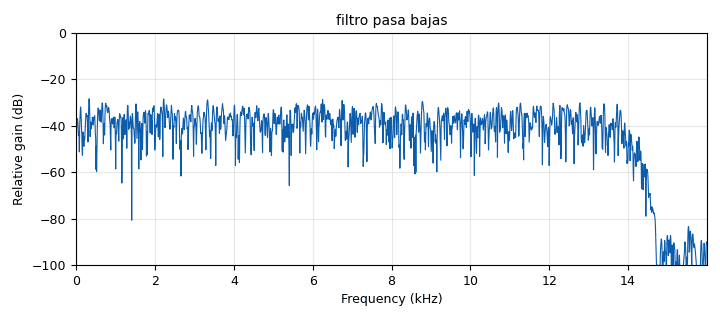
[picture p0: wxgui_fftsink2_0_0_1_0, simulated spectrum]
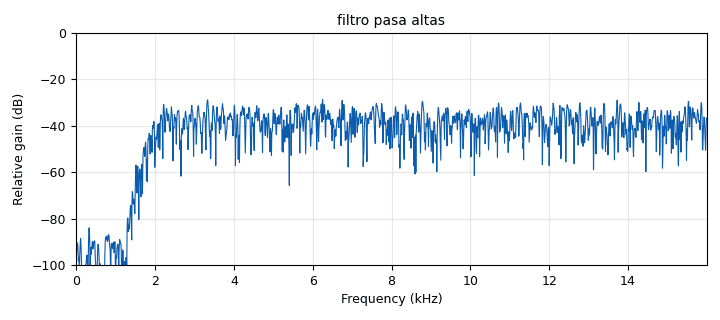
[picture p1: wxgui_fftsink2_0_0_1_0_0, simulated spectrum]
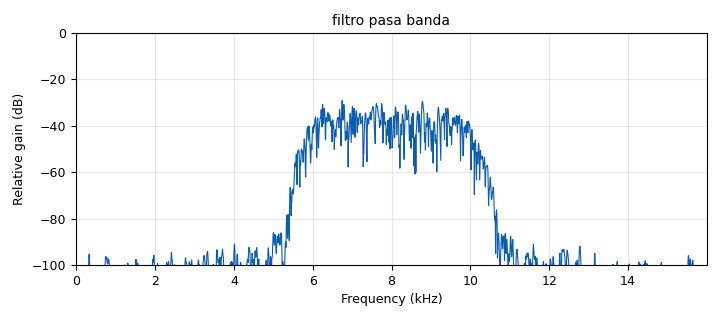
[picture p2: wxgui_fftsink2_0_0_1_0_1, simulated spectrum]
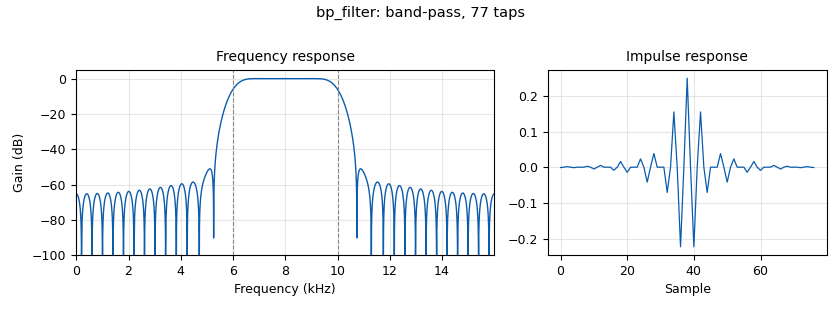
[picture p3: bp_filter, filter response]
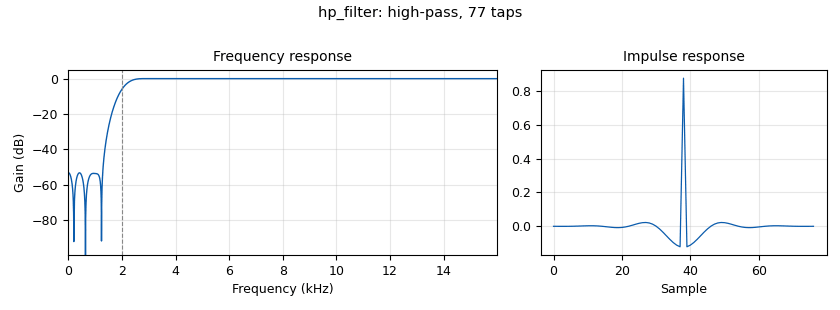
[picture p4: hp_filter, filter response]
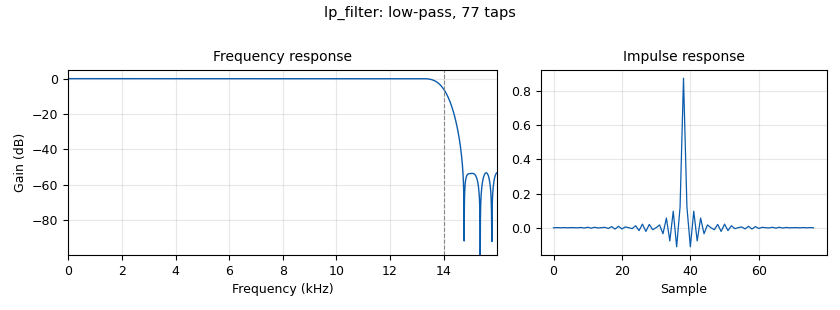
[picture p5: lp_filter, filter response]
<?xml version='1.0' encoding='utf-8'?>
<?grc format='1' created='3.7.11'?>
<flow_graph>
<block>
<key>options</key>
<param><key>id</key><value>filter_taps</value></param>
<param><key>category</key><value>Custom</value></param>
<param><key>generate_options</key><value>wx_gui</value></param>
</block>
<block>
<key>variable</key>
<param><key>id</key><value>bp_high</value></param>
<param><key>value</key><value>10000</value></param>
</block>
<block>
<key>variable</key>
<param><key>id</key><value>bp_low</value></param>
<param><key>value</key><value>6000</value></param>
</block>
<block>
<key>variable_band_pass_filter_taps</key>
<param><key>id</key><value>bp_taps</value></param>
<param><key>gain</key><value>1.0</value></param>
<param><key>high_cutoff_freq</key><value>bp_high</value></param>
<param><key>low_cutoff_freq</key><value>bp_low</value></param>
<param><key>samp_rate</key><value>samp_rate</value></param>
<param><key>type</key><value>taps_real</value></param>
<param><key>width</key><value>transition</value></param>
<param><key>win</key><value>firdes.WIN_HAMMING</value></param>
</block>
<block>
<key>variable</key>
<param><key>id</key><value>cutoff_high</value></param>
<param><key>value</key><value>14000</value></param>
</block>
<block>
<key>variable</key>
<param><key>id</key><value>cutoff_low</value></param>
<param><key>value</key><value>2000</value></param>
</block>
<block>
<key>variable_high_pass_filter_taps</key>
<param><key>id</key><value>hp_taps</value></param>
<param><key>cutoff_freq</key><value>cutoff_low</value></param>
<param><key>gain</key><value>1.0</value></param>
<param><key>samp_rate</key><value>samp_rate</value></param>
<param><key>width</key><value>transition</value></param>
<param><key>win</key><value>firdes.WIN_HAMMING</value></param>
</block>
<block>
<key>variable_low_pass_filter_taps</key>
<param><key>id</key><value>lp_taps</value></param>
<param><key>cutoff_freq</key><value>cutoff_high</value></param>
<param><key>gain</key><value>1.0</value></param>
<param><key>samp_rate</key><value>samp_rate</value></param>
<param><key>width</key><value>transition</value></param>
<param><key>win</key><value>firdes.WIN_HAMMING</value></param>
</block>
<block>
<key>variable</key>
<param><key>id</key><value>samp_rate</value></param>
<param><key>value</key><value>32000</value></param>
</block>
<block>
<key>variable</key>
<param><key>id</key><value>transition</value></param>
<param><key>value</key><value>1000</value></param>
</block>
<block>
<key>analog_fastnoise_source_x</key>
<param><key>id</key><value>analog_fastnoise_source_x_0</value></param>
<param><key>amp</key><value>1</value></param>
<param><key>noise_type</key><value>analog.GR_GAUSSIAN</value></param>
<param><key>type</key><value>float</value></param>
<param><key>seed</key><value>0</value></param>
<param><key>samples</key><value>8192</value></param>
</block>
<block>
<key>blocks_throttle</key>
<param><key>id</key><value>blocks_throttle_0_1</value></param>
<param><key>samples_per_second</key><value>samp_rate</value></param>
<param><key>type</key><value>float</value></param>
</block>
<block>
<key>blocks_throttle</key>
<param><key>id</key><value>blocks_throttle_0_1_0</value></param>
<param><key>samples_per_second</key><value>samp_rate</value></param>
<param><key>type</key><value>float</value></param>
</block>
<block>
<key>blocks_throttle</key>
<param><key>id</key><value>blocks_throttle_0_1_0_0</value></param>
<param><key>samples_per_second</key><value>samp_rate</value></param>
<param><key>type</key><value>float</value></param>
</block>
<block>
<key>fir_filter_xxx</key>
<param><key>id</key><value>bp_filter</value></param>
<param><key>comment</key><value>Band-pass filter</value></param>
<param><key>decim</key><value>1</value></param>
<param><key>taps</key><value>bp_taps</value></param>
<param><key>type</key><value>fff</value></param>
</block>
<block>
<key>fir_filter_xxx</key>
<param><key>id</key><value>hp_filter</value></param>
<param><key>comment</key><value>High-pass filter</value></param>
<param><key>decim</key><value>1</value></param>
<param><key>taps</key><value>hp_taps</value></param>
<param><key>type</key><value>fff</value></param>
</block>
<block>
<key>fir_filter_xxx</key>
<param><key>id</key><value>lp_filter</value></param>
<param><key>comment</key><value>Low-pass filter</value></param>
<param><key>decim</key><value>1</value></param>
<param><key>taps</key><value>lp_taps</value></param>
<param><key>type</key><value>fff</value></param>
</block>
<block>
<key>notebook</key>
<param><key>id</key><value>notebook</value></param>
<param><key>labels</key><value>['lp','hp','bp']</value></param>
<param><key>style</key><value>wx.NB_TOP</value></param>
</block>
<block>
<key>wxgui_fftsink2</key>
<param><key>id</key><value>wxgui_fftsink2_0_0_1_0</value></param>
<param><key>avg_alpha</key><value>0</value></param>
<param><key>average</key><value>False</value></param>
<param><key>baseband_freq</key><value>0</value></param>
<param><key>fft_size</key><value>4096</value></param>
<param><key>freqvar</key><value>None</value></param>
<param><key>notebook</key><value>notebook,0</value></param>
<param><key>peak_hold</key><value>False</value></param>
<param><key>ref_level</key><value>0</value></param>
<param><key>ref_scale</key><value>2.0</value></param>
<param><key>fft_rate</key><value>15</value></param>
<param><key>samp_rate</key><value>samp_rate</value></param>
<param><key>title</key><value>filtro pasa bajas</value></param>
<param><key>type</key><value>float</value></param>
<param><key>win</key><value>window.flattop</value></param>
<param><key>y_divs</key><value>10</value></param>
<param><key>y_per_div</key><value>10</value></param>
</block>
<block>
<key>wxgui_fftsink2</key>
<param><key>id</key><value>wxgui_fftsink2_0_0_1_0_0</value></param>
<param><key>avg_alpha</key><value>0</value></param>
<param><key>average</key><value>False</value></param>
<param><key>baseband_freq</key><value>0</value></param>
<param><key>fft_size</key><value>4096</value></param>
<param><key>freqvar</key><value>None</value></param>
<param><key>notebook</key><value>notebook,1</value></param>
<param><key>peak_hold</key><value>False</value></param>
<param><key>ref_level</key><value>0</value></param>
<param><key>ref_scale</key><value>2.0</value></param>
<param><key>fft_rate</key><value>15</value></param>
<param><key>samp_rate</key><value>samp_rate</value></param>
<param><key>title</key><value>filtro pasa altas</value></param>
<param><key>type</key><value>float</value></param>
<param><key>win</key><value>window.flattop</value></param>
<param><key>y_divs</key><value>10</value></param>
<param><key>y_per_div</key><value>10</value></param>
</block>
<block>
<key>wxgui_fftsink2</key>
<param><key>id</key><value>wxgui_fftsink2_0_0_1_0_1</value></param>
<param><key>avg_alpha</key><value>0</value></param>
<param><key>average</key><value>False</value></param>
<param><key>baseband_freq</key><value>0</value></param>
<param><key>fft_size</key><value>4096</value></param>
<param><key>freqvar</key><value>None</value></param>
<param><key>notebook</key><value>notebook,2</value></param>
<param><key>peak_hold</key><value>False</value></param>
<param><key>ref_level</key><value>0</value></param>
<param><key>ref_scale</key><value>2.0</value></param>
<param><key>fft_rate</key><value>15</value></param>
<param><key>samp_rate</key><value>samp_rate</value></param>
<param><key>title</key><value>filtro pasa banda</value></param>
<param><key>type</key><value>float</value></param>
<param><key>win</key><value>window.flattop</value></param>
<param><key>y_divs</key><value>10</value></param>
<param><key>y_per_div</key><value>10</value></param>
</block>
<connection><source_block_id>analog_fastnoise_source_x_0</source_block_id><sink_block_id>bp_filter</sink_block_id><source_key>0</source_key><sink_key>0</sink_key></connection>
<connection><source_block_id>analog_fastnoise_source_x_0</source_block_id><sink_block_id>hp_filter</sink_block_id><source_key>0</source_key><sink_key>0</sink_key></connection>
<connection><source_block_id>analog_fastnoise_source_x_0</source_block_id><sink_block_id>lp_filter</sink_block_id><source_key>0</source_key><sink_key>0</sink_key></connection>
<connection><source_block_id>blocks_throttle_0_1</source_block_id><sink_block_id>wxgui_fftsink2_0_0_1_0</sink_block_id><source_key>0</source_key><sink_key>0</sink_key></connection>
<connection><source_block_id>blocks_throttle_0_1_0</source_block_id><sink_block_id>wxgui_fftsink2_0_0_1_0_0</sink_block_id><source_key>0</source_key><sink_key>0</sink_key></connection>
<connection><source_block_id>blocks_throttle_0_1_0_0</source_block_id><sink_block_id>wxgui_fftsink2_0_0_1_0_1</sink_block_id><source_key>0</source_key><sink_key>0</sink_key></connection>
<connection><source_block_id>bp_filter</source_block_id><sink_block_id>blocks_throttle_0_1_0_0</sink_block_id><source_key>0</source_key><sink_key>0</sink_key></connection>
<connection><source_block_id>hp_filter</source_block_id><sink_block_id>blocks_throttle_0_1_0</sink_block_id><source_key>0</source_key><sink_key>0</sink_key></connection>
<connection><source_block_id>lp_filter</source_block_id><sink_block_id>blocks_throttle_0_1</sink_block_id><source_key>0</source_key><sink_key>0</sink_key></connection>
</flow_graph>
